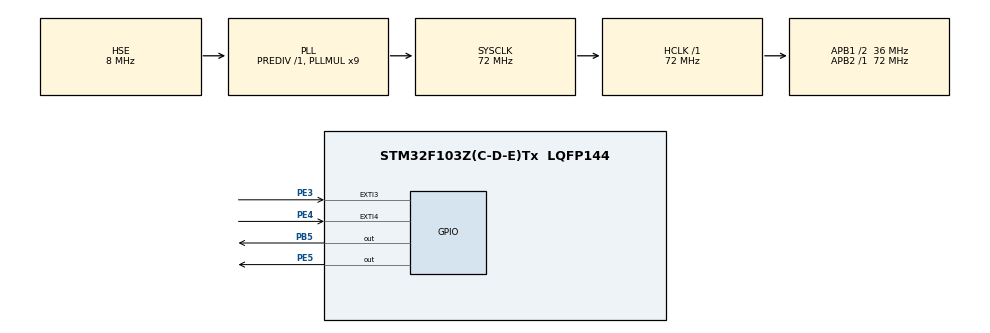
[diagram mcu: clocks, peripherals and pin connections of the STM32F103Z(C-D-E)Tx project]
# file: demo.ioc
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Mcu.Family=STM32F1
Mcu.Name=STM32F103Z(C-D-E)Tx
Mcu.Package=LQFP144
NVIC.EXTI3_IRQn=true\:2\:0\:true\:false\:true\:true
NVIC.EXTI4_IRQn=true\:0\:0\:false\:false\:true\:true
NVIC.PriorityGroup=NVIC_PRIORITYGROUP_4
NVIC.RTC_Alarm_IRQn=true\:0\:0\:false\:false\:true\:true
NVIC.RTC_IRQn=true\:0\:0\:false\:false\:true\:true
OSC_IN.Mode=HSE-External-Oscillator
OSC_IN.Signal=RCC_OSC_IN
OSC_OUT.Mode=HSE-External-Oscillator
OSC_OUT.Signal=RCC_OSC_OUT
PB5.Signal=GPIO_Output
PC14-OSC32_IN.Mode=LSE-External-Oscillator
PC14-OSC32_IN.Signal=RCC_OSC32_IN
PC15-OSC32_OUT.Mode=LSE-External-Oscillator
PC15-OSC32_OUT.Signal=RCC_OSC32_OUT
PE3.Signal=GPXTI3
PE4.Signal=GPXTI4
PE5.Signal=GPIO_Output
ProjectManager.HeapSize=0x200
ProjectManager.StackSize=0x400
ProjectManager.TargetToolchain=MDK-ARM V5
RCC.AHBFreq_Value=72000000
RCC.APB1CLKDivider=RCC_HCLK_DIV2
RCC.APB1Freq_Value=36000000
RCC.APB1TimFreq_Value=72000000
RCC.APB2Freq_Value=72000000
RCC.APB2TimFreq_Value=72000000
RCC.HCLKFreq_Value=72000000
RCC.PLLMUL=RCC_PLL_MUL9
RCC.PLLSourceVirtual=RCC_PLLSOURCE_HSE
RCC.RTCClockSelection=RCC_RTCCLKSOURCE_LSE
RCC.SYSCLKFreq_VALUE=72000000
RCC.SYSCLKSource=RCC_SYSCLKSOURCE_PLLCLK
RCC.USBFreq_Value=72000000
VP_RTC_No_RTC_Output.Mode=RTC_OUT_NO
VP_RTC_VS_RTC_Activate.Mode=RTC_Enabled
VP_RTC_VS_RTC_Calendar.Mode=RTC_Calendar
VP_SYS_VS_ND.Mode=No_Debug
board=demo

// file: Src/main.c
/**
  ******************************************************************************
  * File Name          : main.c
  * Description        : Main program body
  ******************************************************************************
  ** This notice applies to any and all portions of this file
  * that are not between comment pairs USER CODE BEGIN and
  * USER CODE END. Other portions of this file, whether
  * inserted by the user or by software development tools
  * are owned by their respective copyright owners.
  *
  * COPYRIGHT(c) 2017 STMicroelectronics
  *
  * Redistribution and use in source and binary forms, with or without modification,
  * are permitted provided that the following conditions are met:
  *   1. Redistributions of source code must retain the above copyright notice,
  *      this list of conditions and the following disclaimer.
  *   2. Redistributions in binary form must reproduce the above copyright notice,
  *      this list of conditions and the following disclaimer in the documentation
  *      and/or other materials provided with the distribution.
  *   3. Neither the name of STMicroelectronics nor the names of its contributors
  *      may be used to endorse or promote products derived from this software
  *      without specific prior written permission.
  *
  * THIS SOFTWARE IS PROVIDED BY THE COPYRIGHT HOLDERS AND CONTRIBUTORS "AS IS"
  * AND ANY EXPRESS OR IMPLIED WARRANTIES, INCLUDING, BUT NOT LIMITED TO, THE
  * IMPLIED WARRANTIES OF MERCHANTABILITY AND FITNESS FOR A PARTICULAR PURPOSE ARE
  * DISCLAIMED. IN NO EVENT SHALL THE COPYRIGHT HOLDER OR CONTRIBUTORS BE LIABLE
  * FOR ANY DIRECT, INDIRECT, INCIDENTAL, SPECIAL, EXEMPLARY, OR CONSEQUENTIAL
  * DAMAGES (INCLUDING, BUT NOT LIMITED TO, PROCUREMENT OF SUBSTITUTE GOODS OR
  * SERVICES; LOSS OF USE, DATA, OR PROFITS; OR BUSINESS INTERRUPTION) HOWEVER
  * CAUSED AND ON ANY THEORY OF LIABILITY, WHETHER IN CONTRACT, STRICT LIABILITY,
  * OR TORT (INCLUDING NEGLIGENCE OR OTHERWISE) ARISING IN ANY WAY OUT OF THE USE
  * OF THIS SOFTWARE, EVEN IF ADVISED OF THE POSSIBILITY OF SUCH DAMAGE.
  *
  ******************************************************************************
  */
#include "main.h"
#include "stm32f1xx_hal.h"

RTC_HandleTypeDef hrtc;
/* 很重要 */
uint8_t isMcuInRun =1;

/* USER CODE BEGIN PV */
/* Private variables ---------------------------------------------------------*/

/* USER CODE END PV */

void SystemClock_Config(void);
static void MX_GPIO_Init(void);
static void MX_RTC_Init(void);

/* USER CODE BEGIN PFP */
/* Private function prototypes -----------------------------------------------*/

/* USER CODE END PFP */

/* USER CODE BEGIN 0 */

void APP_RTC_SetAlarmCounter_IT(uint32_t AlarmCounter){
    RTC_AlarmTypeDef sAlarm;
    uint32_t counter_alarm = 0;
    uint32_t counter_time = 0;
    RTC_TimeTypeDef stime = {0};

    HAL_RTC_GetTime(&hrtc, &stime, RTC_FORMAT_BIN);

    /* Convert time in seconds */
    counter_time = (uint32_t)(((uint32_t)stime.Hours * 3600) + ((uint32_t)stime.Minutes * 60) + ((uint32_t)stime.Seconds));

    counter_alarm = counter_time + AlarmCounter;

    sAlarm.Alarm = RTC_ALARM_A;
    sAlarm.AlarmTime.Hours   = (uint32_t)((counter_alarm / 3600) % 24);
    sAlarm.AlarmTime.Minutes = (uint32_t)((counter_alarm % 3600) / 60);
    sAlarm.AlarmTime.Seconds = (uint32_t)((counter_alarm % 3600) % 60);

    if(HAL_RTC_SetAlarm_IT(&hrtc,&sAlarm,RTC_FORMAT_BIN) != HAL_OK)
    {
        /* Initialization Error */
        Error_Handler();
    }
}

void TTU_sleep(){
		SysTick->CTRL = 0;
	  isMcuInRun = 0;
		HAL_PWR_EnterSTOPMode(PWR_LOWPOWERREGULATOR_ON,PWR_STOPENTRY_WFE);
}

void TTU_outSleep(){
	 if(! isMcuInRun){
		SystemClock_Config();
		isMcuInRun =1;
	}
}

/* USER CODE END 0 */

int main(void)
{

  /* USER CODE BEGIN 1 */
	int i;
  /* USER CODE END 1 */

  /* MCU Configuration----------------------------------------------------------*/

  /* Reset of all peripherals, Initializes the Flash interface and the Systick. */
  HAL_Init();

  /* Configure the system clock */
  SystemClock_Config();

  /* Initialize all configured peripherals */
  MX_GPIO_Init();
  MX_RTC_Init();

  /* USER CODE BEGIN 2 */
//	HAL_RTCEx_SetSecond_IT(&hrtc);
	APP_RTC_SetAlarmCounter_IT(5);

  /* USER CODE END 2 */

  /* Infinite loop */
  while (1)
  {

  /* USER CODE BEGIN 3 */
		HAL_GPIO_WritePin(GPIOB,GPIO_PIN_5,GPIO_PIN_RESET);
		for(i=0;i<10;i++){

			HAL_GPIO_TogglePin(GPIOB,GPIO_PIN_5);
			HAL_Delay(100);
		}
	  TTU_sleep();
  }
  /* USER CODE END 3 */

}

/** System Clock Configuration
*/
void SystemClock_Config(void)
{

  RCC_OscInitTypeDef RCC_OscInitStruct;
  RCC_ClkInitTypeDef RCC_ClkInitStruct;
  RCC_PeriphCLKInitTypeDef PeriphClkInit;

    /**Initializes the CPU, AHB and APB busses clocks
    */
  RCC_OscInitStruct.OscillatorType = RCC_OSCILLATORTYPE_HSE|RCC_OSCILLATORTYPE_LSE;
  RCC_OscInitStruct.HSEState = RCC_HSE_ON;
  RCC_OscInitStruct.HSEPredivValue = RCC_HSE_PREDIV_DIV1;
  RCC_OscInitStruct.LSEState = RCC_LSE_ON;
  RCC_OscInitStruct.HSIState = RCC_HSI_ON;
  RCC_OscInitStruct.PLL.PLLState = RCC_PLL_ON;
  RCC_OscInitStruct.PLL.PLLSource = RCC_PLLSOURCE_HSE;
  RCC_OscInitStruct.PLL.PLLMUL = RCC_PLL_MUL9;
  if (HAL_RCC_OscConfig(&RCC_OscInitStruct) != HAL_OK)
  {
    _Error_Handler(__FILE__, __LINE__);
  }

    /**Initializes the CPU, AHB and APB busses clocks
    */
  RCC_ClkInitStruct.ClockType = RCC_CLOCKTYPE_HCLK|RCC_CLOCKTYPE_SYSCLK
                              |RCC_CLOCKTYPE_PCLK1|RCC_CLOCKTYPE_PCLK2;
  RCC_ClkInitStruct.SYSCLKSource = RCC_SYSCLKSOURCE_PLLCLK;
  RCC_ClkInitStruct.AHBCLKDivider = RCC_SYSCLK_DIV1;
  RCC_ClkInitStruct.APB1CLKDivider = RCC_HCLK_DIV2;
  RCC_ClkInitStruct.APB2CLKDivider = RCC_HCLK_DIV1;

  if (HAL_RCC_ClockConfig(&RCC_ClkInitStruct, FLASH_LATENCY_2) != HAL_OK)
  {
    _Error_Handler(__FILE__, __LINE__);
  }

  PeriphClkInit.PeriphClockSelection = RCC_PERIPHCLK_RTC;
  PeriphClkInit.RTCClockSelection = RCC_RTCCLKSOURCE_LSE;
  if (HAL_RCCEx_PeriphCLKConfig(&PeriphClkInit) != HAL_OK)
  {
    _Error_Handler(__FILE__, __LINE__);
  }

    /**Configure the Systick interrupt time
    */
  HAL_SYSTICK_Config(HAL_RCC_GetHCLKFreq()/1000);

    /**Configure the Systick
    */
  HAL_SYSTICK_CLKSourceConfig(SYSTICK_CLKSOURCE_HCLK);

  /* SysTick_IRQn interrupt configuration */
  HAL_NVIC_SetPriority(SysTick_IRQn, 0, 0);
}

/* RTC init function */
static void MX_RTC_Init(void)
{

  RTC_TimeTypeDef sTime;
  RTC_DateTypeDef DateToUpdate;

    /**Initialize RTC Only
    */
  hrtc.Instance = RTC;
  hrtc.Init.AsynchPrediv = RTC_AUTO_1_SECOND;
  hrtc.Init.OutPut = RTC_OUTPUTSOURCE_NONE;
  if (HAL_RTC_Init(&hrtc) != HAL_OK)
  {
    _Error_Handler(__FILE__, __LINE__);
  }

    /**Initialize RTC and set the Time and Date
    */
  if(HAL_RTCEx_BKUPRead(&hrtc, RTC_BKP_DR1) != 0x32F2){
  sTime.Hours = 0x1;
  sTime.Minutes = 0x0;
  sTime.Seconds = 0x0;

  if (HAL_RTC_SetTime(&hrtc, &sTime, RTC_FORMAT_BCD) != HAL_OK)
  {
    _Error_Handler(__FILE__, __LINE__);
  }

  DateToUpdate.WeekDay = RTC_WEEKDAY_MONDAY;
  DateToUpdate.Month = RTC_MONTH_JANUARY;
  DateToUpdate.Date = 0x1;
  DateToUpdate.Year = 0x0;

  if (HAL_RTC_SetDate(&hrtc, &DateToUpdate, RTC_FORMAT_BCD) != HAL_OK)
  {
    _Error_Handler(__FILE__, __LINE__);
  }

    HAL_RTCEx_BKUPWrite(&hrtc,RTC_BKP_DR1,0x32F2);
  }

}

/** Configure pins as
        * Analog
        * Input
        * Output
        * EVENT_OUT
        * EXTI
*/
static void MX_GPIO_Init(void)
{

  GPIO_InitTypeDef GPIO_InitStruct;

  /* GPIO Ports Clock Enable */
  __HAL_RCC_GPIOE_CLK_ENABLE();
  __HAL_RCC_GPIOC_CLK_ENABLE();
  __HAL_RCC_GPIOB_CLK_ENABLE();

  /*Configure GPIO pin Output Level */
  HAL_GPIO_WritePin(GPIOE, GPIO_PIN_5, GPIO_PIN_RESET);

  /*Configure GPIO pin Output Level */
  HAL_GPIO_WritePin(GPIOB, GPIO_PIN_5, GPIO_PIN_RESET);

  /*Configure GPIO pins : PE3 PE4 */
  GPIO_InitStruct.Pin = GPIO_PIN_3|GPIO_PIN_4;
  GPIO_InitStruct.Mode = GPIO_MODE_IT_FALLING;
  GPIO_InitStruct.Pull = GPIO_PULLUP;
  HAL_GPIO_Init(GPIOE, &GPIO_InitStruct);

  /*Configure GPIO pin : PE5 */
  GPIO_InitStruct.Pin = GPIO_PIN_5;
  GPIO_InitStruct.Mode = GPIO_MODE_OUTPUT_PP;
  GPIO_InitStruct.Speed = GPIO_SPEED_FREQ_LOW;
  HAL_GPIO_Init(GPIOE, &GPIO_InitStruct);

  /*Configure GPIO pin : PB5 */
  GPIO_InitStruct.Pin = GPIO_PIN_5;
  GPIO_InitStruct.Mode = GPIO_MODE_OUTPUT_PP;
  GPIO_InitStruct.Speed = GPIO_SPEED_FREQ_LOW;
  HAL_GPIO_Init(GPIOB, &GPIO_InitStruct);

  /* EXTI interrupt init*/
  HAL_NVIC_SetPriority(EXTI3_IRQn, 2, 0);
  HAL_NVIC_EnableIRQ(EXTI3_IRQn);

  HAL_NVIC_SetPriority(EXTI4_IRQn, 2, 0);
  HAL_NVIC_EnableIRQ(EXTI4_IRQn);

}

/* USER CODE BEGIN 4 */
/*
 * 雨量计的中断
 */
void HAL_GPIO_EXTI_Callback(uint16_t GPIO_Pin){
  TTU_outSleep();
	HAL_GPIO_TogglePin(GPIOE,GPIO_PIN_5);

}

void HAL_RTCEx_RTCEventCallback(RTC_HandleTypeDef *hrtc){
	//HAL_GPIO_TogglePin(GPIOB,GPIO_PIN_5);
}

void HAL_RTC_AlarmAEventCallback(RTC_HandleTypeDef *hrtc) {
  TTU_outSleep();
	HAL_GPIO_TogglePin(GPIOE,GPIO_PIN_5);
	APP_RTC_SetAlarmCounter_IT(10);
	//HAL_NVIC_EnableIRQ(SysTick_IRQn);

}

/* USER CODE END 4 */

void _Error_Handler(char * file, int line)
{
  while(1)
  {
  }
}

/************************ (C) COPYRIGHT STMicroelectronics *****END OF FILE****/
